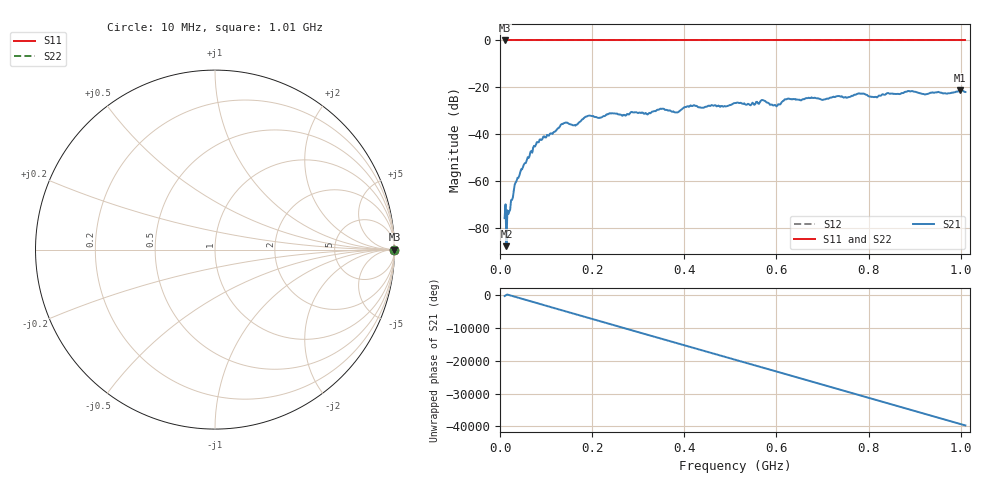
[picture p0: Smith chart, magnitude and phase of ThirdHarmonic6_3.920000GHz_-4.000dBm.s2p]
! 8/17/2025 1:49:46 PM
! C:\ANRITSUVNA\TEMP\TEMP.S2P
! CHANNEL.1
! TR.MEASUREMENT
! RAW.DATA
! RF.CORRECTION.OFF
! AVERAGING.OFF
! IF.BANDWIDTH: 5KHZ
! SWEEPTYPE:  FREQ.SWEEP(Linear)
! Reference Plane Port Info
! PORT:  PORT1  PORT2
! DISTANCE:  0  m  0  m
! TIME:  0  s  0  s
! PHASE.OFFSET:  0  deg.  0  deg.
! LOSS:  0  dB  0  dB
! REF.LOSS:  0  dB  0  dB
! REF.FREQ:  0  Hz  0  Hz
! Power Info
! POWER:  -20  dBm  -20  dBm
! EFF.POWER:  -20  dBm  -20  dBm
! SOURCE.ATTEN:  0  dB  0  dB
! TEST.ATTEN:  0  dB  0  dB
# GHZ S RI R 50.0
! FREQ.GHZ  S11RE  S11IM  S21RE  S21IM  S12RE  S12IM  S22RE  S22IM
!; PortSelection: Port_12
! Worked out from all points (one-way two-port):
!   501 points, 10 MHz to 1.01 GHz, reference 50 ohm
!   highest |S21| = -21.31 dB at 998 MHz (marker M1); lowest = -87.7 dB at 14 MHz (marker M2)
!   lowest |S11| = 0.0 dB at 10 MHz (marker M3)
!   |S11| at or under -10 dB: nowhere
!   |S22| runs from 0.0 to 0.0 dB; largest |S21 - S12| = 1.1
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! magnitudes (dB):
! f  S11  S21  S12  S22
! 10 MHz  0.0  -75.8  0.0  0.0
! 14 MHz  0.0  -87.7  0.0  0.0
! 18 MHz  0.0  -74.1  0.0  0.0
! 36 MHz  0.0  -59.9  0.0  0.0
! 76 MHz  0.0  -45.2  0.0  0.0
! 136 MHz  0.0  -35.7  0.0  0.0
! 164 MHz  0.0  -36.3  0.0  0.0
! 178 MHz  0.0  -33.7  0.0  0.0
! 192 MHz  0.0  -32.1  0.0  0.0
! 322 MHz  0.0  -31.2  0.0  0.0
! 344 MHz  0.0  -29.6  0.0  0.0
! 384 MHz  0.0  -30.6  0.0  0.0
! 416 MHz  0.0  -27.9  0.0  0.0
! 510 MHz  0.0  -26.7  0.0  0.0
! 570 MHz  0.0  -25.4  0.0  0.0
! 598 MHz  0.0  -27.6  0.0  0.0
! 622 MHz  0.0  -25.1  0.0  0.0
! 678 MHz  0.0  -24.5  0.0  0.0
! 814 MHz  0.0  -24.0  0.0  0.0
! 844 MHz  0.0  -22.6  0.0  0.0
! 998 MHz  0.0  -21.3  0.0  0.0
! 1.01 GHz  0.0  -22.0  0.0  0.0
